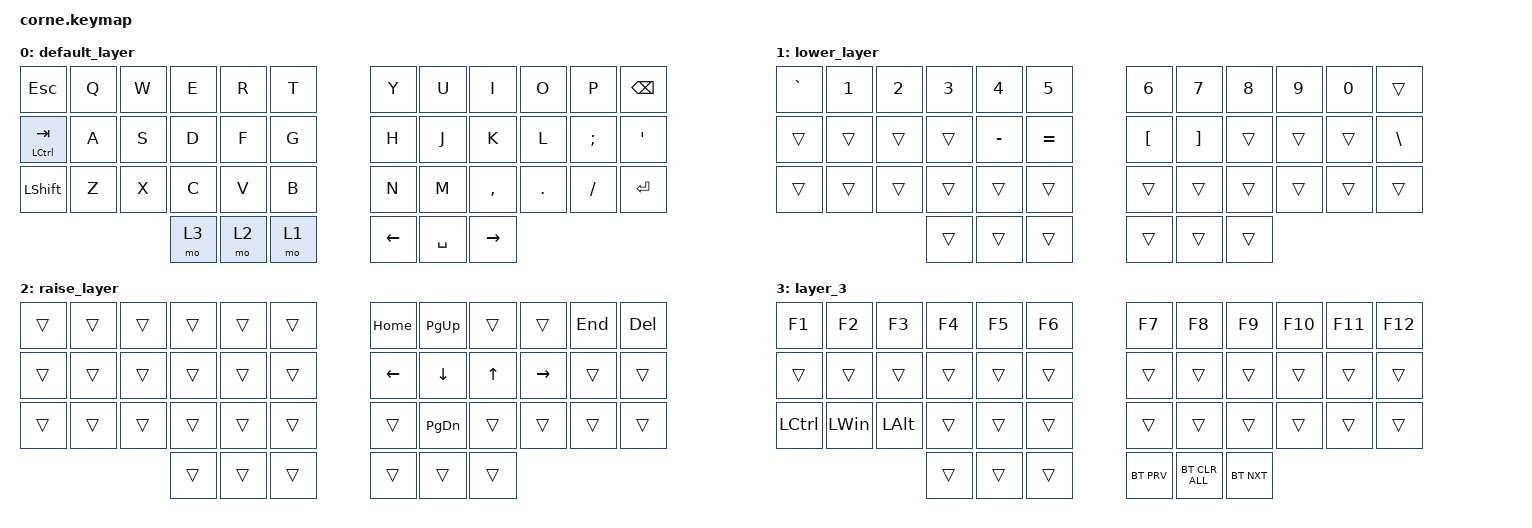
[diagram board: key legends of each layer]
/*
 * Copyright (c) 2020 The ZMK Contributors
 *
 * SPDX-License-Identifier: MIT
 */

#include <behaviors.dtsi>
#include <dt-bindings/zmk/bt.h>
#include <dt-bindings/zmk/keys.h>

/ {
    keymap {
        compatible = "zmk,keymap";

        default_layer {
            // -----------------------------------------------------------------------------------------
            // |  TAB |  Q  |  W  |  E  |  R  |  T  |   |  Y  |  U   |  I  |  O  |  P  | BKSP |
            // | CTRL |  A  |  S  |  D  |  F  |  G  |   |  H  |  J   |  K  |  L  |  ;  |  '   |
            // | SHFT |  Z  |  X  |  C  |  V  |  B  |   |  N  |  M   |  ,  |  .  |  /  | ESC  |
            //                    | GUI | LWR | SPC |   | ENT | RSE  | ALT |

            bindings = <
&kp ESCAPE     &kp Q  &kp W  &kp E  &kp R  &kp T    &kp Y           &kp U      &kp I      &kp O    &kp P          &kp BSPC
&mt LCTRL TAB  &kp A  &kp S  &kp D  &kp F  &kp G    &kp H           &kp J      &kp K      &kp L    &kp SEMICOLON  &kp SQT
&kp LSHFT      &kp Z  &kp X  &kp C  &kp V  &kp B    &kp N           &kp M      &kp COMMA  &kp DOT  &kp FSLH       &kp RET
                             &mo 3  &mo 2  &mo 1    &kp LEFT_ARROW  &kp SPACE  &kp RIGHT
            >;
        };

        lower_layer {
            // -----------------------------------------------------------------------------------------
            // |  TAB |  1  |  2  |  3  |  4  |  5  |   |  6  |  7  |  8  |  9  |  0  | BKSP |
            // | BTCLR| BT1 | BT2 | BT3 | BT4 | BT5 |   | LFT | DWN |  UP | RGT |     |      |
            // | SHFT |     |     |     |     |     |   |     |     |     |     |     |      |
            //                    | GUI |     | SPC |   | ENT |     | ALT |

            bindings = <
&kp GRAVE  &kp N1  &kp N2  &kp N3  &kp N4     &kp N5       &kp N6            &kp N7             &kp N8  &kp N9  &kp N0  &trans
&trans     &trans  &trans  &trans  &kp MINUS  &kp EQUAL    &kp LEFT_BRACKET  &kp RIGHT_BRACKET  &trans  &trans  &trans  &kp BACKSLASH
&trans     &trans  &trans  &trans  &trans     &trans       &trans            &trans             &trans  &trans  &trans  &trans
                           &trans  &trans     &trans       &trans            &trans             &trans
            >;
        };

        raise_layer {
            // -----------------------------------------------------------------------------------------
            // |  TAB |  !  |  @  |  #  |  $  |  %  |   |  ^  |  &  |  *  |  (  |  )  | BKSP |
            // | CTRL |     |     |     |     |     |   |  -  |  =  |  [  |  ]  |  \  |  `   |
            // | SHFT |     |     |     |     |     |   |  _  |  +  |  {  |  }  | "|" |  ~   |
            //                    | GUI |     | SPC |   | ENT |     | ALT |

            bindings = <
&trans  &trans  &trans  &trans  &trans  &trans    &kp HOME        &kp PAGE_UP     &trans        &trans     &kp END  &kp DEL
&trans  &trans  &trans  &trans  &trans  &trans    &kp LEFT_ARROW  &kp DOWN_ARROW  &kp UP_ARROW  &kp RIGHT  &trans   &trans
&trans  &trans  &trans  &trans  &trans  &trans    &trans          &kp PAGE_DOWN   &trans        &trans     &trans   &trans
                        &trans  &trans  &trans    &trans          &trans          &trans
            >;
        };

        layer_3 {
            bindings = <
&kp F1     &kp F2        &kp F3        &kp F4  &kp F5  &kp F6    &kp F7      &kp F8          &kp F9      &kp F10  &kp F11  &kp F12
&trans     &trans        &trans        &trans  &trans  &trans    &trans      &trans          &trans      &trans   &trans   &trans
&kp LCTRL  &kp LEFT_WIN  &kp LEFT_ALT  &trans  &trans  &trans    &trans      &trans          &trans      &trans   &trans   &trans
                                       &trans  &trans  &trans    &bt BT_PRV  &bt BT_CLR_ALL  &bt BT_NXT
            >;
        };
    };
};
